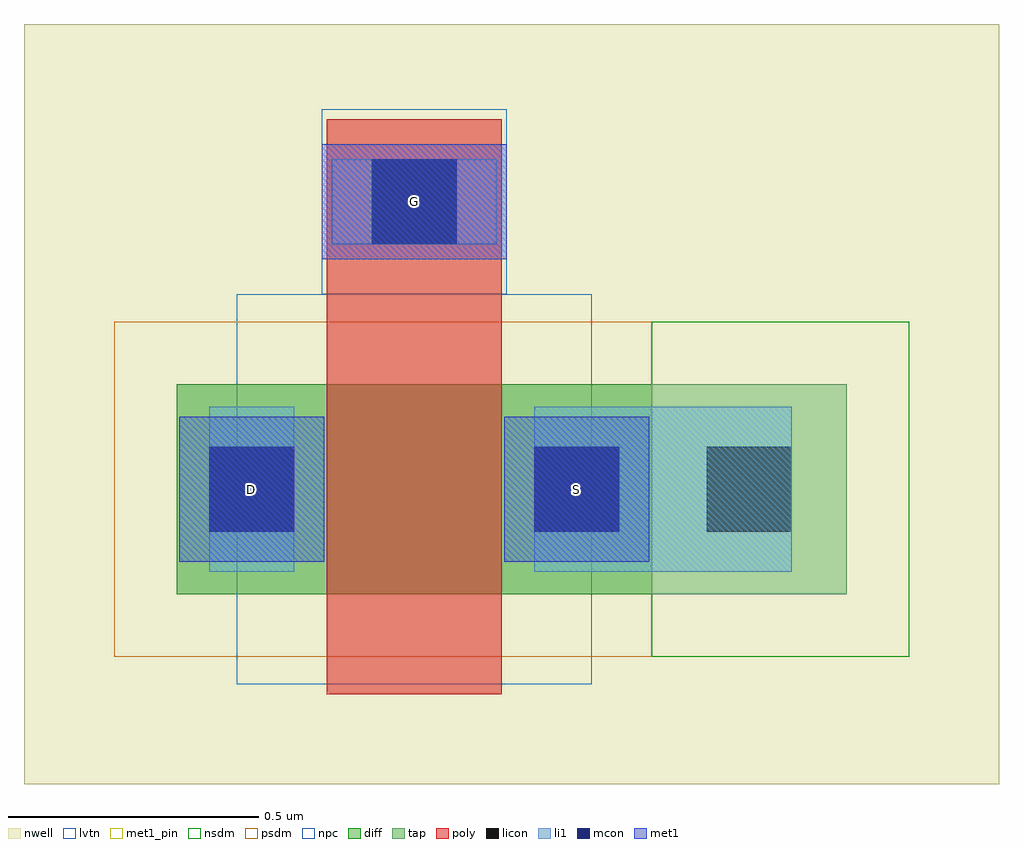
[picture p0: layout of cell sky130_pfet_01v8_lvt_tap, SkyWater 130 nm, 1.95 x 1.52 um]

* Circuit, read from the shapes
.subckt sky130_pfet_01v8_lvt_tap D G S
XM1 S G D S sky130_fd_pr__pfet_01v8_lvt w=0.42 l=0.35
.ends

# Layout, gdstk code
import gdstk
lib = gdstk.Library(unit=1e-6, precision=1e-09)
def R(c, l, rs):  # rectangles x0, y0, x1, y1
    for r in rs: c.add(gdstk.rectangle(r[:2], r[2:], *l))
nwell = (64, 20)
diff = (65, 20)
tap = (65, 44)
poly = (66, 20)
licon = (66, 44)
li1 = (67, 20)
mcon = (67, 44)
met1_pin = (68, 16)
met1 = (68, 20)
nsdm = (93, 44)
psdm = (94, 20)
npc = (95, 20)
lvtn = (125, 44)

pfet = lib.new_cell('pfet')
R(pfet, nwell, [(-0.305,-0.38,1.645,1.14)])
R(pfet, diff, [(0,0,0.95,0.42)])
R(pfet, tap, [(0.95,0,1.34,0.42)])
R(pfet, poly, [(0.3,-0.2,0.65,0.62), (0.3,0.62,0.65,0.95)])
R(pfet, licon, [(0.065,0.125,0.235,0.295), (0.715,0.125,0.885,0.295), (1.06,0.125,1.23,0.295), (0.39,0.7,0.56,0.87)])
R(pfet, li1, [(0.065,0.045,0.235,0.375), (0.715,0.045,0.885,0.375), (1.06,0.045,1.23,0.375), (0.31,0.7,0.64,0.87)])
R(pfet, mcon, [(0.065,0.125,0.235,0.295), (0.715,0.125,0.885,0.295), (0.39,0.7,0.56,0.87)])
R(pfet, met1, [(0.005,0.065,0.295,0.355), (0.655,0.065,0.945,0.355), (0.29,0.67,0.66,0.9)])
R(pfet, nsdm, [(0.95,-0.125,1.465,0.545)])
R(pfet, psdm, [(-0.125,-0.125,0.95,0.545)])
R(pfet, npc, [(0.29,0.61,0.66,0.96)])
R(pfet, lvtn, [(0.12,-0.18,0.83,0.6)])

sky130_pfet_01v8_lvt_tap = lib.new_cell('sky130_pfet_01v8_lvt_tap')
R(sky130_pfet_01v8_lvt_tap, li1, [(0.885,0.045,1.06,0.375)])
R(sky130_pfet_01v8_lvt_tap, met1_pin, [(0.065,0.125,0.235,0.295), (0.715,0.125,0.885,0.295), (0.39,0.7,0.56,0.87)])
R(sky130_pfet_01v8_lvt_tap, npc, [(0.29,0.6,0.66,0.97)])
sky130_pfet_01v8_lvt_tap.add(gdstk.Reference(pfet, (0,0)))
sky130_pfet_01v8_lvt_tap.add(gdstk.Label('D', (0.15,0.21), layer=68, texttype=5))
sky130_pfet_01v8_lvt_tap.add(gdstk.Label('S', (0.8,0.21), layer=68, texttype=5))
sky130_pfet_01v8_lvt_tap.add(gdstk.Label('G', (0.475,0.785), layer=68, texttype=5))

lib.write_gds('sky130_pfet_01v8_lvt_tap.gds')
